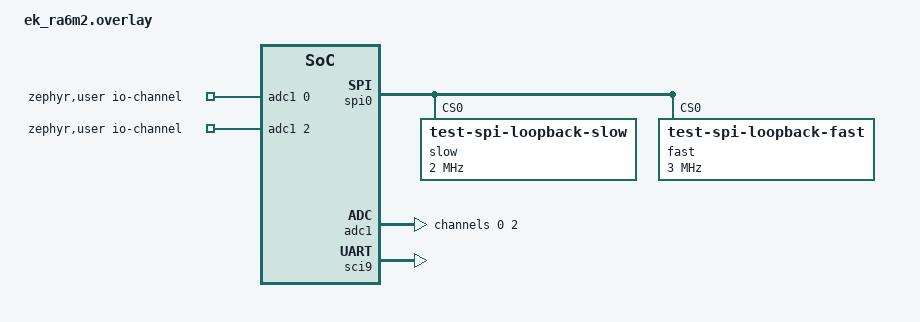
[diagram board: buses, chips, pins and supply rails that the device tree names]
/*
 * Copyright (c) 2025 Renesas Electronics Corporation
 *
 * SPDX-License-Identifier: Apache-2.0
 */

tst_dma0: &dma0 {};

&dma0 {
	status = "okay";
	interrupts = <95 1>, <94 1>, <93 1>;
	interrupt-names = "ch0", "ch1", "ch2";
};

&spi0 {
	rx-dtc;
	tx-dtc;
	slow@0 {
		compatible = "test-spi-loopback-slow";
		reg = <0>;
		spi-max-frequency = <2000000>;
	};
	fast@0 {
		compatible = "test-spi-loopback-fast";
		reg = <0>;
		spi-max-frequency = <3000000>;
	};
};

/ {
	zephyr,user {
		io-channels = <&adc1 0>, <&adc1 2>;
	};
};

&pinctrl {
	adc1_default: adc1_default {
		group1 {
			psels = <RA_PSEL(RA_PSEL_ADC, 0, 0)>;
			renesas,analog-enable;
		};
	};
};

&adc1 {
	pinctrl-0 = <&adc1_default>;
	pinctrl-names = "default";
	status = "okay";
	#address-cells = <1>;
	#size-cells = <0>;
	channel@0 {
		reg = <0>;
		zephyr,gain = "ADC_GAIN_1";
		zephyr,reference = "ADC_REF_INTERNAL";
		zephyr,resolution = <12>;
		zephyr,acquisition-time = <ADC_ACQ_TIME_DEFAULT>;
		zephyr,vref-mv = <3300>;
	};
	channel@2 {
		reg = <2>;
		zephyr,gain = "ADC_GAIN_1";
		zephyr,reference = "ADC_REF_INTERNAL";
		zephyr,resolution = <12>;
		zephyr,acquisition-time = <ADC_ACQ_TIME_DEFAULT>;
		zephyr,vref-mv = <3300>;
	};
};

&pinctrl {
	sci9_default: sci9_default {
		group1 {
			psels = <RA_PSEL(RA_PSEL_SCI_9, 2, 3)>,
				<RA_PSEL(RA_PSEL_SCI_9, 2, 2)>;
		};
	};
};

&sci9 {
	pinctrl-0 = <&sci9_default>;
	pinctrl-names = "default";
	status = "okay";
	dut: uart {
		current-speed = <115200>;
		status = "okay";
	};
};
